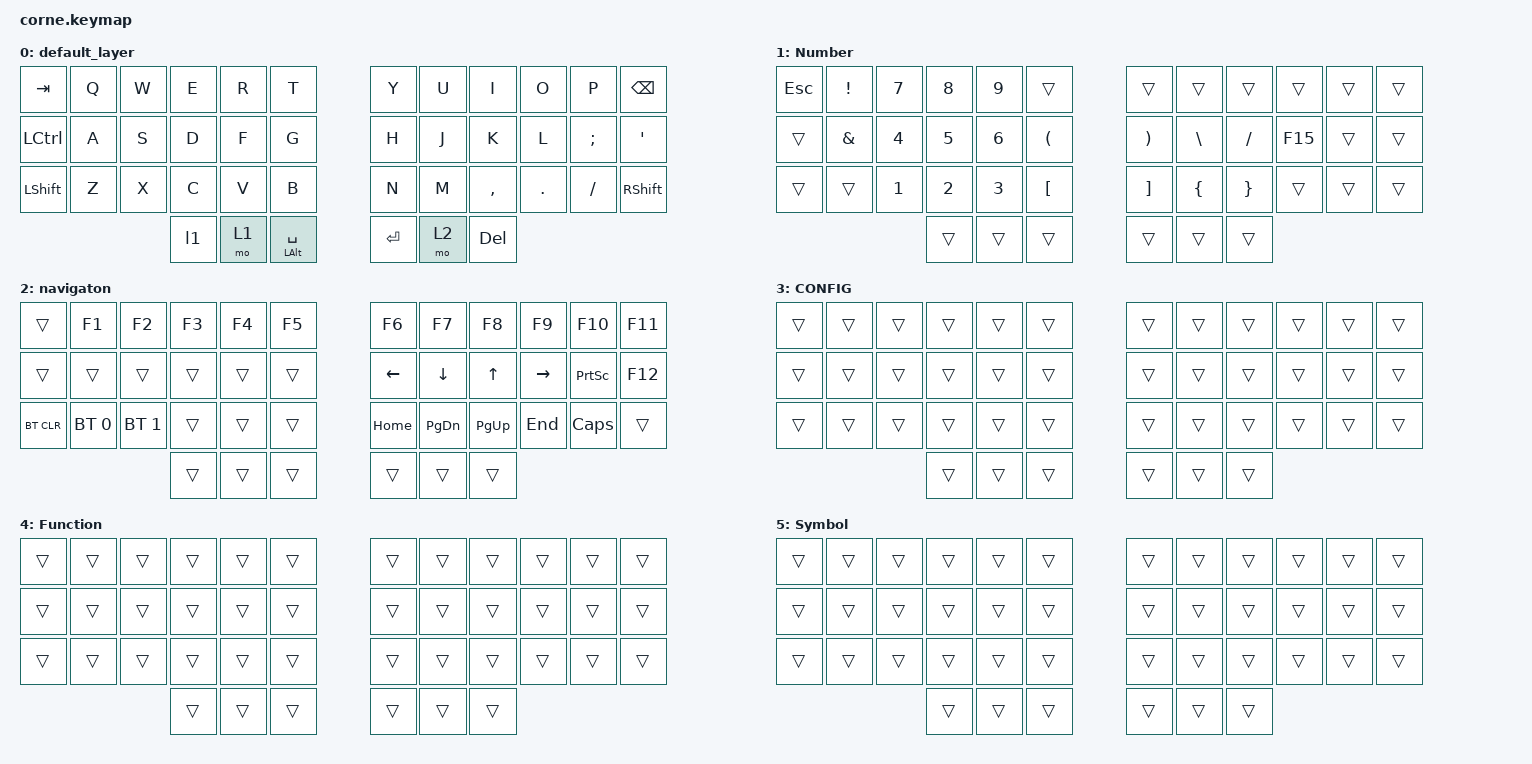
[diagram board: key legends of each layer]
/*
 * Copyright (c) 2020 The ZMK Contributors
 *
 * SPDX-License-Identifier: MIT
 * ADD PAGE UP DOWN HOME, END, MAKE COMPATBLE WITH SWE
 */

#include <behaviors.dtsi>
#include <dt-bindings/zmk/bt.h>
#include <dt-bindings/zmk/keys.h>

/ {
    behaviors {
        tp: tap_preferred {
            compatible = "zmk,behavior-hold-tap";
            label = "TAP_PREFERRED";
            #binding-cells = <2>;
            tapping-term-ms = <200>;
            quick-tap-ms = <0>;
            flavor = "tap-preferred";
            bindings = <&kp>, <&kp>;
        };
    };

    macros {
        l1: l1 {
            compatible = "zmk,behavior-macro";
            #binding-cells = <0>;
            bindings = <&mo 1 &kp F15>;
            label = "L1";
        };
    };

    keymap {
        compatible = "zmk,keymap";

        default_layer {
            // -----------------------------------------------------------------------------------------
            // | TAB  |  Q  |  W  |  E  |  R  |    T    |   |  Y  |  U   |  I  |  O  |  P  | ESC   |
            // | CTRL |  A  |  S  |  D  |  F  |    G    |   |  H  |  J   |  K  |  L  |  ;  |  '    |
            // | SHFT |  Z  |  X  |  C  |  V  |    B    |   |  N  |  M   |  ,  |  .  |  /  | RSHFT |
            //                    | GUI | LWR | ALT/SPC |   | HYPER/ENT | RSE  | DEL |

            bindings = <
&kp TAB    &kp Q  &kp W  &kp E  &kp R  &kp T             &kp Y    &kp U  &kp I      &kp O    &kp P     &kp BSPC
&kp LCTRL  &kp A  &kp S  &kp D  &kp F  &kp G             &kp H    &kp J  &kp K      &kp L    &kp SEMI  &kp SQT
&kp LSHFT  &kp Z  &kp X  &kp C  &kp V  &kp B             &kp N    &kp M  &kp COMMA  &kp DOT  &kp FSLH  &kp RSHFT
                         &l1    &mo 1  &tp LALT SPACE    &kp RET  &mo 2  &kp DEL
            >;
        };

        Number {
            // -----------------------------------------------------------------------------------------
            // |      |  !  |  @  |  #  |  $  |    %     |   |  ^  |  &  |  *  |  (  |  )  |   \   |
            // |      |  1  |  2  |  3  |  4  |    5     |   |  -  |  =  |  `  |  [  |  ]  |  "|"  |
            // | SHFT |  6  |  7  |  8  |  9  |    0     |   |  _  |  +  |  ~  |  {  |  }  | RSHFT |
            //                    |     |     |          |   |     |     |    |

            bindings = <
&kp ESCAPE  &kp EXCLAMATION  &kp NUMBER_7  &kp NUMBER_8  &kp NUMBER_9  &trans                  &trans                 &trans          &trans           &trans   &trans  &trans
&trans      &kp AMPERSAND    &kp NUMBER_4  &kp NUMBER_5  &kp NUMBER_6  &kp LEFT_PARENTHESIS    &kp RIGHT_PARENTHESIS  &kp BACKSLASH   &kp SLASH        &kp F15  &trans  &trans
&trans      &trans           &kp NUMBER_1  &kp NUMBER_2  &kp NUMBER_3  &kp LEFT_BRACKET        &kp RIGHT_BRACKET      &kp LEFT_BRACE  &kp RIGHT_BRACE  &trans   &trans  &trans
                                           &trans        &trans        &trans                  &trans                 &trans          &trans
            >;
        };

        navigaton {
            // -----------------------------------------------------------------------------------------
            // |       |  F1  |  F2  |  F3   |  F4   |  F5        |   |  F6   |  F7   |  F8  |  F9  |  F10  |     |
            // |       | Prev | Next | Vol - | Vol + | Play/Pause |   | LFT   | DWN   |  UP  | RGT  |       |     |
            // |       | BT1  | BT2  | BT3   | BT4   | BT5        |   | BTCLR |       |      |      |       |     |
            //                       |       |       |            |   |       |       |      |

            bindings = <
&trans      &kp F1        &kp F2        &kp F3  &kp F4  &kp F5    &kp F6    &kp F7         &kp F8       &kp F9     &kp F10          &kp F11
&trans      &trans        &trans        &trans  &trans  &trans    &kp LEFT  &kp DOWN       &kp UP       &kp RIGHT  &kp PRINTSCREEN  &kp F12
&bt BT_CLR  &bt BT_SEL 0  &bt BT_SEL 1  &trans  &trans  &trans    &kp HOME  &kp PAGE_DOWN  &kp PAGE_UP  &kp END    &kp CAPSLOCK     &trans
                                        &trans  &trans  &trans    &trans    &trans         &trans
            >;
        };

        CONFIG {
            bindings = <
&trans  &trans  &trans  &trans  &trans  &trans    &trans  &trans  &trans  &trans  &trans  &trans
&trans  &trans  &trans  &trans  &trans  &trans    &trans  &trans  &trans  &trans  &trans  &trans
&trans  &trans  &trans  &trans  &trans  &trans    &trans  &trans  &trans  &trans  &trans  &trans
                        &trans  &trans  &trans    &trans  &trans  &trans
            >;
        };

        Function {
            bindings = <
&trans  &trans  &trans  &trans  &trans  &trans    &trans  &trans  &trans  &trans  &trans  &trans
&trans  &trans  &trans  &trans  &trans  &trans    &trans  &trans  &trans  &trans  &trans  &trans
&trans  &trans  &trans  &trans  &trans  &trans    &trans  &trans  &trans  &trans  &trans  &trans
                        &trans  &trans  &trans    &trans  &trans  &trans
            >;
        };

        Symbol {
            bindings = <
&trans  &trans  &trans  &trans  &trans  &trans    &trans  &trans  &trans  &trans  &trans  &trans
&trans  &trans  &trans  &trans  &trans  &trans    &trans  &trans  &trans  &trans  &trans  &trans
&trans  &trans  &trans  &trans  &trans  &trans    &trans  &trans  &trans  &trans  &trans  &trans
                        &trans  &trans  &trans    &trans  &trans  &trans
            >;
        };
    };
};

&nice_view_spi {
    cs-gpios = <&gpio0 8 GPIO_ACTIVE_HIGH>;
};
